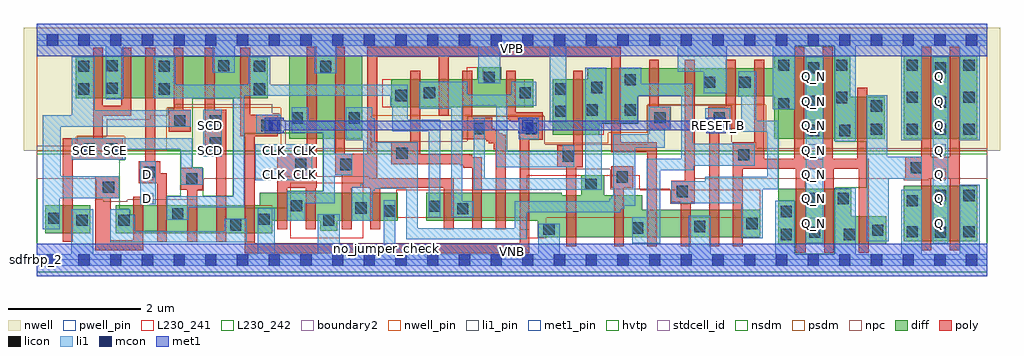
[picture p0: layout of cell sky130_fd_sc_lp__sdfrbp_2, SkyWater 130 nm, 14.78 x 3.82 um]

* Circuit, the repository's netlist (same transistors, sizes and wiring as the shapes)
* Copyright 2020 The SkyWater PDK Authors
*
* Licensed under the Apache License, Version 2.0 (the "License");
* you may not use this file except in compliance with the License.
* You may obtain a copy of the License at
*
*     https://www.apache.org/licenses/LICENSE-2.0
*
* Unless required by applicable law or agreed to in writing, software
* distributed under the License is distributed on an "AS IS" BASIS,
* WITHOUT WARRANTIES OR CONDITIONS OF ANY KIND, either express or implied.
* See the License for the specific language governing permissions and
* limitations under the License.
*
* SPDX-License-Identifier: Apache-2.0

.SUBCKT sky130_fd_sc_lp__sdfrbp_2 CLK D RESET_B SCD SCE VGND VNB VPB VPWR Q Q_N
*.PININFO CLK:I D:I RESET_B:I SCD:I SCE:I VGND:I VNB:I VPB:I VPWR:I
*.PININFO Q:O Q_N:O
MI642 clkneg CLK VGND VNB sky130_fd_pr__nfet_01v8 m=2 w=0.42U l=0.15U mult=1 sa=0.265
+ sb=0.265 sd=0.28 area=0.063 perim=1.14
MI636 clkpos clkneg VGND VNB sky130_fd_pr__nfet_01v8 m=2 w=0.42U l=0.15U mult=1
+ sa=0.265 sb=0.265 sd=0.28 area=0.063 perim=1.14
MI651 Q_N s0 VGND VNB sky130_fd_pr__nfet_01v8 m=2 w=0.84U l=0.15U mult=1 sa=0.265
+ sb=0.265 sd=0.28 area=0.063 perim=1.14
MI42 db clkneg M0 VNB sky130_fd_pr__nfet_01v8 m=1 w=0.42U l=0.15U mult=1 sa=0.265
+ sb=0.265 sd=0.28 area=0.063 perim=1.14
MI656 net100 s0 net134 VNB sky130_fd_pr__nfet_01v8 m=1 w=0.42U l=0.15U mult=1 sa=0.265
+ sb=0.265 sd=0.28 area=0.063 perim=1.14
MI657 net134 RESET_B VGND VNB sky130_fd_pr__nfet_01v8 m=1 w=0.42U l=0.15U mult=1
+ sa=0.265 sb=0.265 sd=0.28 area=0.063 perim=1.14
MI33 net127 RESET_B VGND VNB sky130_fd_pr__nfet_01v8 m=1 w=0.42U l=0.15U mult=1
+ sa=0.265 sb=0.265 sd=0.28 area=0.063 perim=1.14
MI634 sceb SCE VGND VNB sky130_fd_pr__nfet_01v8 m=1 w=0.42U l=0.15U mult=1 sa=0.265
+ sb=0.265 sd=0.28 area=0.063 perim=1.14
MI4 M0 clkpos net115 VNB sky130_fd_pr__nfet_01v8 m=1 w=0.42U l=0.15U mult=1 sa=0.265
+ sb=0.265 sd=0.28 area=0.063 perim=1.14
MI34 net115 M1 net127 VNB sky130_fd_pr__nfet_01v8 m=1 w=0.42U l=0.15U mult=1 sa=0.265
+ sb=0.265 sd=0.28 area=0.063 perim=1.14
MI655 s0 clkneg net110 VNB sky130_fd_pr__nfet_01v8 m=1 w=0.42U l=0.15U mult=1 sa=0.265
+ sb=0.265 sd=0.28 area=0.063 perim=1.14
MI652 net187 s0 VGND VNB sky130_fd_pr__nfet_01v8 m=1 w=0.42U l=0.15U mult=1 sa=0.265
+ sb=0.265 sd=0.28 area=0.063 perim=1.14
MI653 Q net187 VGND VNB sky130_fd_pr__nfet_01v8 m=2 w=0.84U l=0.15U mult=1 sa=0.265
+ sb=0.265 sd=0.28 area=0.063 perim=1.14
MI654 net110 net100 VGND VNB sky130_fd_pr__nfet_01v8 m=1 w=0.42U l=0.15U mult=1
+ sa=0.265 sb=0.265 sd=0.28 area=0.063 perim=1.14
MI647 M1 M0 VGND VNB sky130_fd_pr__nfet_01v8 m=1 w=0.64U l=0.15U mult=1 sa=0.265
+ sb=0.265 sd=0.28 area=0.063 perim=1.14
MI649 M1 clkpos s0 VNB sky130_fd_pr__nfet_01v8 m=1 w=0.64U l=0.15U mult=1 sa=0.265
+ sb=0.265 sd=0.28 area=0.063 perim=1.14
MI666 net146 RESET_B VGND VNB sky130_fd_pr__nfet_01v8 m=1 w=0.42U l=0.15U mult=1
+ sa=0.265 sb=0.265 sd=0.28 area=0.525 perim=3.1
MI98 db D n0 VNB sky130_fd_pr__nfet_01v8 m=1 w=0.42U l=0.15U mult=1 sa=0.265 sb=0.265
+ sd=0.28 area=0.525 perim=3.1
MI103 n1 SCD net146 VNB sky130_fd_pr__nfet_01v8 m=1 w=0.42U l=0.15U mult=1 sa=0.265
+ sb=0.265 sd=0.28 area=0.525 perim=3.1
MI120 db SCE n1 VNB sky130_fd_pr__nfet_01v8 m=1 w=0.42U l=0.15U mult=1 sa=0.265
+ sb=0.265 sd=0.28 area=0.525 perim=3.1
MI104 n0 sceb net146 VNB sky130_fd_pr__nfet_01v8 m=1 w=0.42U l=0.15U mult=1 sa=0.265
+ sb=0.265 sd=0.28 area=0.525 perim=3.1
MI643 clkneg CLK VPWR VPB sky130_fd_pr__pfet_01v8_hvt m=1 w=1.26U l=0.15U mult=1
+ sa=0.265 sb=0.265 sd=0.28 area=0.063 perim=1.14
MI635 clkpos clkneg VPWR VPB sky130_fd_pr__pfet_01v8_hvt m=1 w=1.26U l=0.15U mult=1
+ sa=0.265 sb=0.265 sd=0.28 area=0.063 perim=1.14
MI43 db clkpos M0 VPB sky130_fd_pr__pfet_01v8_hvt m=1 w=0.42U l=0.15U mult=1 sa=0.265
+ sb=0.265 sd=0.28 area=0.063 perim=1.14
MI662 net215 net100 VPWR VPB sky130_fd_pr__pfet_01v8_hvt m=1 w=0.42U l=0.15U mult=1
+ sa=0.265 sb=0.265 sd=0.28 area=0.063 perim=1.14
MI659 net100 RESET_B VPWR VPB sky130_fd_pr__pfet_01v8_hvt m=1 w=0.42U l=0.15U mult=1
+ sa=0.265 sb=0.265 sd=0.28 area=0.063 perim=1.14
MI664 s0 clkpos net215 VPB sky130_fd_pr__pfet_01v8_hvt m=1 w=0.42U l=0.15U mult=1
+ sa=0.265 sb=0.265 sd=0.28 area=0.063 perim=1.14
MI658 net100 s0 VPWR VPB sky130_fd_pr__pfet_01v8_hvt m=1 w=0.42U l=0.15U mult=1
+ sa=0.265 sb=0.265 sd=0.28 area=0.063 perim=1.14
MI30 net194 M1 VPWR VPB sky130_fd_pr__pfet_01v8_hvt m=1 w=0.42U l=0.15U mult=1
+ sa=0.265 sb=0.265 sd=0.28 area=0.063 perim=1.14
MI31 M0 clkneg net194 VPB sky130_fd_pr__pfet_01v8_hvt m=1 w=0.42U l=0.15U mult=1
+ sa=0.265 sb=0.265 sd=0.28 area=0.063 perim=1.14
MI32 M0 RESET_B VPWR VPB sky130_fd_pr__pfet_01v8_hvt m=1 w=0.42U l=0.15U mult=1
+ sa=0.265 sb=0.265 sd=0.28 area=0.063 perim=1.14
MI663 net187 s0 VPWR VPB sky130_fd_pr__pfet_01v8_hvt m=1 w=0.64U l=0.15U mult=1
+ sa=0.265 sb=0.265 sd=0.28 area=0.063 perim=1.14
MI660 Q net187 VPWR VPB sky130_fd_pr__pfet_01v8_hvt m=2 w=1.26U l=0.15U mult=1
+ sa=0.265 sb=0.265 sd=0.28 area=0.063 perim=1.14
MI661 Q_N s0 VPWR VPB sky130_fd_pr__pfet_01v8_hvt m=2 w=1.26U l=0.15U mult=1 sa=0.265
+ sb=0.265 sd=0.28 area=0.063 perim=1.14
MI648 M1 M0 VPWR VPB sky130_fd_pr__pfet_01v8_hvt m=1 w=0.84U l=0.15U mult=1 sa=0.265
+ sb=0.265 sd=0.28 area=0.063 perim=1.14
MI650 M1 clkneg s0 VPB sky130_fd_pr__pfet_01v8_hvt m=1 w=0.84U l=0.15U mult=1 sa=0.265
+ sb=0.265 sd=0.28 area=0.063 perim=1.14
MI633 sceb SCE VPWR VPB sky130_fd_pr__pfet_01v8_hvt m=1 w=0.64U l=0.15U mult=1
+ sa=0.265 sb=0.265 sd=0.28 area=0.063 perim=1.14
MI101 db sceb p1 VPB sky130_fd_pr__pfet_01v8_hvt m=1 w=0.64U l=0.15U mult=1 sa=0.265
+ sb=0.265 sd=0.28 area=0.063 perim=1.14
MI107 p0 SCE VPWR VPB sky130_fd_pr__pfet_01v8_hvt m=1 w=0.64U l=0.15U mult=1 sa=0.265
+ sb=0.265 sd=0.28 area=0.063 perim=1.14
MI94 db D p0 VPB sky130_fd_pr__pfet_01v8_hvt m=1 w=0.64U l=0.15U mult=1 sa=0.265
+ sb=0.265 sd=0.28 area=0.063 perim=1.14
MI108 p1 SCD VPWR VPB sky130_fd_pr__pfet_01v8_hvt m=1 w=0.64U l=0.15U mult=1 sa=0.265
+ sb=0.265 sd=0.28 area=0.063 perim=1.14
MI665 db RESET_B VPWR VPB sky130_fd_pr__pfet_01v8_hvt m=1 w=0.64U l=0.15U mult=1
+ sa=0.265 sb=0.265 sd=0.28 area=0.063 perim=1.14
.ENDS sky130_fd_sc_lp__sdfrbp_2

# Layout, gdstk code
import gdstk
lib = gdstk.Library(unit=1e-6, precision=1e-09)
def R(c, l, rs):  # rectangles x0, y0, x1, y1
    for r in rs: c.add(gdstk.rectangle(r[:2], r[2:], *l))
def A(c, l, x, y, w, h, nx, ny, dx, dy):  # array of equal rectangles
    R(c, l, [(x+i*dx, y+j*dy, x+i*dx+w, y+j*dy+h) for i in range(nx) for j in range(ny)])
def P(c, l, *ps):  # polygons
    for p in ps: c.add(gdstk.Polygon(p, *l))
nwell_pin = (64, 16)
nwell = (64, 20)
diff = (65, 20)
poly = (66, 20)
licon = (66, 44)
li1_pin = (67, 16)
li1 = (67, 20)
mcon = (67, 44)
met1_pin = (68, 16)
met1 = (68, 20)
hvtp = (78, 44)
stdcell_id = (81, 4)
nsdm = (93, 44)
psdm = (94, 20)
npc = (95, 20)
pwell_pin = (122, 16)
L230_241 = (230, 241)
L230_242 = (230, 242)
boundary2 = (236, 0)

sky130_fd_sc_lp__sdfrbp_ = lib.new_cell('sky130_fd_sc_lp__sdfrbp_2')
R(sky130_fd_sc_lp__sdfrbp_, nwell_pin, [(0,3.085,14.4,3.33)])
R(sky130_fd_sc_lp__sdfrbp_, nwell, [(-0.19,1.655,14.59,3.52)])
R(sky130_fd_sc_lp__sdfrbp_, diff, [(13.135,0.28,14.245,1.12), (0.135,0.405,0.815,0.825), (3.825,1.835,4.935,3.095), (13.135,1.835,14.245,3.095), (0.59,2.445,3.5,3.085)])
P(sky130_fd_sc_lp__sdfrbp_, diff, [(5.47,1.015),(3.38,1.015),(3.38,0.825),(1.2,0.825),(1.2,0.405),(3.57,0.405),(3.57,0.595),(4.3,0.595),(4.3,0.44),(4.55,0.44),(4.55,0.595),(5.47,0.595)],
  [(7.525,2.735),(7.035,2.735),(7.035,2.915),(6.675,2.915),(6.675,2.735),(5.37,2.735),(5.37,2.315),(7.525,2.315)],
  [(10.96,0.76),(9.17,0.76),(9.17,0.98),(8.595,0.98),(8.595,1.28),(8.25,1.28),(8.25,0.98),(7.95,0.98),(7.95,1.015),(5.9,1.015),(5.9,0.595),(7.59,0.595),(7.59,0.34),(10.96,0.34)],
  [(12.845,2.475),(12.32,2.475),(12.32,3.095),(11.17,3.095),(11.17,2.9),(8.35,2.9),(8.35,2.735),(7.815,2.735),(7.815,1.895),(8.525,1.895),(8.525,2.06),(9.115,2.06),(9.115,2.48),(11.17,2.48),(11.17,1.835),(12.845,1.835)],
  [(12.865,0.66),(12.34,0.66),(12.34,1.08),(11.23,1.08),(11.23,0.24),(12.865,0.24)])
R(sky130_fd_sc_lp__sdfrbp_, poly, [(8.745,0.21,8.895,1.09), (8.705,1.09,9.035,1.42)])
P(sky130_fd_sc_lp__sdfrbp_, poly, [(1.435,3.215),(1.285,3.215),(1.285,2.335),(1.005,2.335),(1.005,3.215),(0.855,3.215),(0.855,1.845),(0.4,1.845),(0.4,0.275),(0.55,0.275),(0.55,1.515),(1.305,1.515),(1.305,1.845),(1.005,1.845),(1.005,2.185),(1.435,2.185)],
  [(1.615,0.955),(1.465,0.955),(1.465,0.295),(1.125,0.295),(1.125,0.935),(1.255,0.935),(1.255,1.265),(0.89,1.265),(0.89,0.145),(1.615,0.145)],
  [(1.975,1.315),(1.875,1.315),(1.875,1.495),(1.795,1.495),(1.795,3.215),(1.645,3.215),(1.645,1.495),(1.545,1.495),(1.545,1.165),(1.825,1.165),(1.825,0.275),(1.975,0.275)],
  [(2.335,2.275),(2.225,2.275),(2.225,3.215),(2.075,3.215),(2.075,2.275),(2.005,2.275),(2.005,1.945),(2.335,1.945)],
  [(2.515,1.395),(2.185,1.395),(2.185,1.065),(2.28,1.065),(2.28,0.275),(2.43,0.275),(2.43,1.065),(2.515,1.065)],
  [(2.875,2.275),(2.695,2.275),(2.695,3.215),(2.545,3.215),(2.545,1.605),(2.725,1.605),(2.725,0.275),(2.875,0.275)],
  [(4.24,3.225),(4.09,3.225),(4.09,1.61),(3.645,1.61),(3.645,0.465),(3.795,0.465),(3.795,1.09),(4.075,1.09),(4.075,0.465),(4.225,0.465),(4.225,1.09),(4.24,1.09)],
  [(6.745,1.555),(6.595,1.555),(6.595,1.59),(6.555,1.59),(6.555,1.6),(5.81,1.6),(5.81,2.865),(5.66,2.865),(5.66,1.78),(5.37,1.78),(5.37,1.45),(6.42,1.45),(6.42,1.435),(6.465,1.435),(6.465,1.395),(6.595,1.395),(6.595,0.465),(6.745,0.465)],
  [(7.105,1.895),(7.055,1.895),(7.055,1.915),(7,1.915),(7,1.96),(6.94,1.96),(6.94,1.99),(6.9,1.99),(6.9,2.155),(6.6,2.155),(6.6,2.865),(6.45,2.865),(6.45,1.825),(6.81,1.825),(6.81,1.8),(6.85,1.8),(6.85,1.765),(6.92,1.765),(6.92,1.68),(6.955,1.68),(6.955,0.465),(7.105,0.465)],
  [(13.98,3.225),(13.83,3.225),(13.83,1.56),(13.55,1.56),(13.55,3.225),(13.4,3.225),(13.4,1.56),(13.155,1.56),(13.155,1.23),(13.4,1.23),(13.4,0.15),(13.55,0.15),(13.55,1.23),(13.83,1.23),(13.83,0.15),(13.98,0.15)],
  [(12.6,1.53),(12.58,1.53),(12.58,2.605),(12.43,2.605),(12.43,1.53),(12.055,1.53),(12.055,3.225),(11.905,3.225),(11.905,1.53),(11.625,1.53),(11.625,3.225),(11.475,3.225),(11.475,1.53),(11.02,1.53),(11.02,3.03),(10.87,3.03),(10.87,1.78),(10.545,1.78),(10.545,0.21),(10.695,0.21),(10.695,1.38),(11.495,1.38),(11.495,0.11),(11.645,0.11),(11.645,1.38),(11.925,1.38),(11.925,0.11),(12.075,0.11),(12.075,1.38),(12.45,1.38),(12.45,0.11),(12.6,0.11)],
  [(7.665,2.24),(7.26,2.24),(7.26,2.865),(7.11,2.865),(7.11,2.145),(7.13,2.145),(7.13,2.13),(7.155,2.13),(7.155,2.11),(7.185,2.11),(7.185,2.09),(7.315,2.09),(7.315,0.255),(3.305,0.255),(3.305,1.87),(3.655,1.87),(3.655,2.2),(3.235,2.2),(3.235,3.215),(3.085,3.215),(3.085,1.87),(3.155,1.87),(3.155,0.105),(7.465,0.105),(7.465,1.82),(7.665,1.82)],
  [(8.275,2.865),(8.125,2.865),(8.125,1.735),(7.885,1.735),(7.885,1.405),(8.025,1.405),(8.025,0.21),(8.175,0.21),(8.175,1.405),(8.275,1.405)],
  [(10.59,3.03),(10.44,3.03),(10.44,2.32),(10.175,2.32),(10.175,1.99),(10.185,1.99),(10.185,0.21),(10.335,0.21),(10.335,1.99),(10.59,1.99)],
  [(9.395,1.78),(8.85,1.78),(8.85,3.225),(5.01,3.225),(5.01,1.61),(4.67,1.61),(4.67,3.225),(4.52,3.225),(4.52,1.28),(4.625,1.28),(4.625,0.465),(4.775,0.465),(4.775,1.09),(5.055,1.09),(5.055,0.465),(5.205,0.465),(5.205,1.09),(6.165,1.09),(6.165,0.465),(6.315,0.465),(6.315,1.24),(5.16,1.24),(5.16,3.075),(6.09,3.075),(6.09,2.185),(6.24,2.185),(6.24,3.075),(8.7,3.075),(8.7,1.63),(9.245,1.63),(9.245,0.21),(9.395,0.21)],
  [(9.605,2.32),(9.425,2.32),(9.425,3.03),(9.275,3.03),(9.275,1.99),(9.605,1.99)],
  [(9.965,3.03),(9.815,3.03),(9.815,1.2),(9.615,1.2),(9.615,0.87),(9.755,0.87),(9.755,0.21),(9.905,0.21),(9.905,0.87),(9.965,0.87)])
A(sky130_fd_sc_lp__sdfrbp_, licon, 13.175, 1.895, 0.17, 0.17, 3, 1, 0.43, 0)
R(sky130_fd_sc_lp__sdfrbp_, licon, [(11.27,0.3,11.44,0.47), (12.225,0.3,12.395,0.47), (11.7,0.335,11.87,0.505), (13.605,0.335,13.775,0.505), (13.175,0.34,13.345,0.51), (14.035,0.34,14.205,0.51), (12.655,0.365,12.825,0.535), (7.675,0.38,7.845,0.55), (9.02,0.4,9.19,0.57), (9.96,0.42,10.13,0.59), (2.93,0.445,3.1,0.615), (10.75,0.465,10.92,0.635), (0.605,0.515,0.775,0.685), (1.24,0.515,1.41,0.685), (4.34,0.52,4.51,0.69), (3.36,0.53,3.53,0.7), (0.175,0.545,0.345,0.715), (2.055,0.615,2.225,0.785), (11.27,0.65,11.44,0.82), (5.26,0.655,5.43,0.825), (6.37,0.69,6.54,0.86), (4.83,0.7,5,0.87), (5.94,0.73,6.11,0.9), (3.85,0.735,4.02,0.905), (13.175,0.81,13.345,0.98), (12.13,0.845,12.3,1.015), (11.7,0.85,11.87,1.02), (13.605,0.89,13.775,1.06), (14.035,0.89,14.205,1.06), (9.695,0.95,9.865,1.12), (1.005,1.015,1.175,1.185), (8.31,1.06,8.48,1.23), (2.265,1.145,2.435,1.315), (8.785,1.17,8.955,1.34), (1.625,1.245,1.795,1.415), (13.235,1.31,13.405,1.48), (3.915,1.36,4.085,1.53), (4.6,1.36,4.77,1.53), (7.965,1.485,8.135,1.655), (10.625,1.51,10.795,1.68), (5.45,1.53,5.62,1.7), (0.715,1.595,0.885,1.765), (1.055,1.595,1.225,1.765), (2.625,1.685,2.795,1.855), (11.68,1.875,11.85,2.045), (12.155,1.875,12.325,2.045), (12.635,1.895,12.805,2.065), (6.62,1.905,6.79,2.075), (7.405,1.905,7.575,2.075), (3.405,1.95,3.575,2.12), (2.085,2.025,2.255,2.195), (2.625,2.025,2.795,2.195), (3.865,2.065,4.035,2.235), (4.725,2.065,4.895,2.235), (9.355,2.07,9.525,2.24), (10.255,2.07,10.425,2.24), (7.855,2.165,8.025,2.335), (8.33,2.185,8.5,2.355), (8.905,2.185,9.075,2.355), (12.635,2.245,12.805,2.415), (11.23,2.28,11.4,2.45), (13.605,2.305,13.775,2.475), (11.68,2.32,11.85,2.49), (12.11,2.375,12.28,2.545), (13.175,2.38,13.345,2.55), (14.035,2.38,14.205,2.55), (5.435,2.405,5.605,2.575), (5.865,2.445,6.035,2.615), (7.315,2.445,7.485,2.615), (0.63,2.505,0.8,2.675), (1.85,2.505,2.02,2.675), (3.29,2.505,3.46,2.675), (7.855,2.505,8.025,2.675), (1.06,2.515,1.23,2.685), (8.4,2.525,8.57,2.695), (10.105,2.605,10.275,2.775), (10.645,2.605,10.815,2.775), (8.905,2.645,9.075,2.815), (6.77,2.68,6.94,2.85), (11.68,2.825,11.85,2.995), (13.605,2.825,13.775,2.995), (4.295,2.845,4.465,3.015), (0.63,2.85,0.8,3.02), (1.85,2.85,2.02,3.02), (3.29,2.85,3.46,3.02), (1.06,2.855,1.23,3.025), (2.75,2.855,2.92,3.025), (11.23,2.865,11.4,3.035), (12.11,2.865,12.28,3.035), (13.175,2.865,13.345,3.035), (14.035,2.865,14.205,3.035)])
A(sky130_fd_sc_lp__sdfrbp_, li1_pin, 11.675, 0.47, 0.17, 0.17, 1, 7, 0, 0.37)
A(sky130_fd_sc_lp__sdfrbp_, li1_pin, 13.595, 0.47, 0.17, 0.17, 1, 7, 0, 0.37)
R(sky130_fd_sc_lp__sdfrbp_, li1_pin, [(1.595,0.84,1.765,1.01), (1.595,1.21,1.765,1.38), (3.515,1.21,3.685,1.38), (3.995,1.21,4.165,1.38), (0.635,1.58,0.805,1.75), (1.115,1.58,1.285,1.75), (2.555,1.58,2.725,1.75), (3.515,1.58,3.685,1.75), (3.995,1.58,4.165,1.75), (2.555,1.95,2.725,2.12)])
R(sky130_fd_sc_lp__sdfrbp_, li1, [(11.65,0.255,11.915,3.075), (13.575,0.255,13.81,3.075), (1.57,0.84,1.805,1.495), (3.315,1.21,4.175,1.75), (2.525,1.565,2.805,2.275), (7.3,1.825,7.605,2.155), (3.325,1.92,3.695,2.2), (10.125,1.94,10.505,2.3)])
P(sky130_fd_sc_lp__sdfrbp_, li1, [(2.335,2.265),(0.88,2.265),(0.88,3.075),(0.53,3.075),(0.53,2.195),(0.095,2.195),(0.095,0.465),(0.355,0.465),(0.355,0.935),(1.255,0.935),(1.255,1.265),(0.365,1.265),(0.365,2.015),(2.335,2.015)],
  [(2.515,1.395),(2.355,1.395),(2.355,1.845),(0.535,1.845),(0.535,1.515),(1.345,1.515),(1.345,1.675),(2.185,1.675),(2.185,1.135),(2.515,1.135)],
  [(3.18,0.625),(2.85,0.625),(2.85,0.435),(1.49,0.435),(1.49,0.685),(1.415,0.685),(1.415,0.765),(1.115,0.765),(1.115,0.265),(3.18,0.265)],
  [(4.78,1.61),(4.515,1.61),(4.515,2.1),(4.115,2.1),(4.115,2.315),(3.865,2.315),(3.865,1.93),(4.345,1.93),(4.345,1.04),(3.8,1.04),(3.8,0.595),(4.06,0.595),(4.06,0.86),(4.515,0.86),(4.515,1.28),(4.78,1.28)],
  [(6.11,2.12),(5.625,2.12),(5.625,2.655),(3.54,2.655),(3.54,3.075),(3.21,3.075),(3.21,2.655),(2.1,2.655),(2.1,3.075),(1.77,3.075),(1.77,2.445),(2.975,2.445),(2.975,0.965),(1.975,0.965),(1.975,0.605),(2.305,0.605),(2.305,0.795),(3.145,0.795),(3.145,2.485),(5.355,2.485),(5.355,2.325),(5.39,2.325),(5.39,1.95),(5.94,1.95),(5.94,0.65),(6.11,0.65)],
  [(8.14,1.735),(7.965,1.735),(7.965,1.645),(7.13,1.645),(7.13,2.335),(7.565,2.335),(7.565,2.695),(7.19,2.695),(7.19,2.505),(6.52,2.505),(6.52,2.695),(5.795,2.695),(5.795,2.29),(6.28,2.29),(6.28,0.65),(6.62,0.65),(6.62,0.89),(6.45,0.89),(6.45,2.335),(6.96,2.335),(6.96,1.405),(8.14,1.405)],
  [(8.63,2.91),(8.31,2.91),(8.31,1.235),(6.79,1.235),(6.79,2.155),(6.62,2.155),(6.62,1.06),(8.56,1.06),(8.56,2.08),(8.63,2.08)],
  [(9.595,2.32),(9.275,2.32),(9.275,1.9),(8.73,1.9),(8.73,0.965),(8.705,0.965),(8.705,0.93),(8.67,0.93),(8.67,0.89),(7.245,0.89),(7.245,0.48),(5.77,0.48),(5.77,1.78),(5.12,1.78),(5.12,2.145),(5.085,2.145),(5.085,2.315),(4.685,2.315),(4.685,1.815),(4.95,1.815),(4.95,1.155),(4.905,1.155),(4.905,1.11),(4.77,1.11),(4.77,0.595),(5.09,0.595),(5.09,1.05),(5.12,1.05),(5.12,1.075),(5.6,1.075),(5.6,0.31),(7.425,0.31),(7.425,0.72),(8.85,0.72),(8.85,0.775),(8.9,0.775),(8.9,0.82),(9.07,0.82),(9.07,1.7),(9.515,1.7),(9.515,1.99),(9.595,1.99)],
  [(10.875,1.76),(9.935,1.76),(9.935,2.67),(9.155,2.67),(9.155,2.91),(8.825,2.91),(8.825,2.08),(9.105,2.08),(9.105,2.49),(9.765,2.49),(9.765,1.53),(9.24,1.53),(9.24,0.65),(9.02,0.65),(9.02,0.255),(9.445,0.255),(9.445,1.36),(9.955,1.36),(9.955,1.43),(10.875,1.43)],
  [(11.235,2.11),(10.895,2.11),(10.895,2.855),(10.625,2.855),(10.625,2.47),(10.675,2.47),(10.675,1.94),(11.065,1.94),(11.065,1.26),(10.125,1.26),(10.125,1.19),(9.615,1.19),(9.615,0.86),(10.67,0.86),(10.67,0.33),(11,0.33),(11,1.07),(11.235,1.07)],
  [(13.405,1.56),(12.885,1.56),(12.885,2.495),(12.575,2.495),(12.575,0.285),(12.905,0.285),(12.905,1.23),(13.405,1.23)],
  [(14.4,3.415),(0,3.415),(0,3.245),(1.05,3.245),(1.05,2.435),(1.31,2.435),(1.31,3.245),(2.67,3.245),(2.67,2.835),(3,2.835),(3,3.245),(4.215,3.245),(4.215,2.825),(4.545,2.825),(4.545,3.245),(6.69,3.245),(6.69,2.675),(7.02,2.675),(7.02,3.245),(7.775,3.245),(7.775,2.085),(8.025,2.085),(8.025,3.245),(9.71,3.245),(9.71,2.85),(10.105,2.85),(10.105,2.525),(10.455,2.525),(10.455,3.245),(11.15,3.245),(11.15,2.28),(11.48,2.28),(11.48,3.245),(12.085,3.245),(12.085,1.795),(12.405,1.795),(12.405,3.245),(13.095,3.245),(13.095,1.815),(13.405,1.815),(13.405,3.245),(13.98,3.245),(13.98,1.815),(14.285,1.815),(14.285,3.245),(14.4,3.245)],
  [(14.4,0.085),(14.285,0.085),(14.285,1.14),(13.98,1.14),(13.98,0.085),(13.405,0.085),(13.405,1.06),(13.095,1.06),(13.095,0.085),(12.405,0.085),(12.405,1.095),(12.085,1.095),(12.085,0.085),(11.48,0.085),(11.48,0.9),(11.19,0.9),(11.19,0.085),(10.21,0.085),(10.21,0.67),(9.88,0.67),(9.88,0.085),(7.925,0.085),(7.925,0.55),(7.595,0.55),(7.595,0.085),(5.43,0.085),(5.43,0.905),(5.26,0.905),(5.26,0.085),(4.59,0.085),(4.59,0.69),(4.26,0.69),(4.26,0.085),(3.61,0.085),(3.61,0.78),(3.35,0.78),(3.35,0.085),(0.855,0.085),(0.855,0.765),(0.525,0.765),(0.525,0.085),(0,0.085),(0,-0.085),(14.4,-0.085)])
A(sky130_fd_sc_lp__sdfrbp_, mcon, 0.155, -0.085, 0.17, 0.17, 30, 2, 0.48, 3.33)
R(sky130_fd_sc_lp__sdfrbp_, mcon, [(3.515,1.95,3.685,2.12), (7.355,1.95,7.525,2.12), (10.205,1.95,10.375,2.12)])
R(sky130_fd_sc_lp__sdfrbp_, met1_pin, [(0,0,14.4,0.245), (10.235,1.95,10.405,2.12), (0,3.085,14.4,3.33)])
R(sky130_fd_sc_lp__sdfrbp_, met1, [(0,-0.245,14.4,0.245), (0,3.085,14.4,3.575)])
P(sky130_fd_sc_lp__sdfrbp_, met1, [(10.435,2.15),(10.145,2.15),(10.145,2.105),(7.585,2.105),(7.585,2.15),(7.295,2.15),(7.295,2.105),(3.745,2.105),(3.745,2.15),(3.455,2.15),(3.455,1.92),(3.745,1.92),(3.745,1.965),(7.295,1.965),(7.295,1.92),(7.585,1.92),(7.585,1.965),(10.145,1.965),(10.145,1.92),(10.435,1.92)])
R(sky130_fd_sc_lp__sdfrbp_, hvtp, [(0,1.6,14.4,3.33)])
R(sky130_fd_sc_lp__sdfrbp_, stdcell_id, [(0,0,14.4,3.33)])
R(sky130_fd_sc_lp__sdfrbp_, nsdm, [(0,-0.19,14.4,1.655)])
P(sky130_fd_sc_lp__sdfrbp_, psdm, [(14.4,3.52),(0,3.52),(0,1.655),(0.605,1.655),(0.605,1.875),(1.335,1.875),(1.335,1.655),(1.975,1.655),(1.975,2.305),(3.695,2.305),(3.695,1.655),(5.065,1.655),(5.065,2.185),(7.685,2.185),(7.685,1.765),(8.655,1.765),(8.655,1.93),(9.245,1.93),(9.245,2.35),(11.04,2.35),(11.04,1.655),(14.4,1.655)])
R(sky130_fd_sc_lp__sdfrbp_, npc, [(10.465,1.535,10.895,1.78)])
P(sky130_fd_sc_lp__sdfrbp_, npc, [(14.4,1.695),(10.525,1.695),(10.525,2.34),(9.255,2.34),(9.255,1.755),(7.695,1.755),(7.695,2.175),(6.52,2.175),(6.52,1.8),(5.075,1.8),(5.075,1.695),(3.775,1.695),(3.775,2.115),(3.675,2.115),(3.675,2.22),(3.57,2.22),(3.57,2.355),(2.09,2.355),(2.09,2.295),(1.985,2.295),(1.985,2.19),(1.72,2.19),(1.72,2.13),(1.06,2.13),(1.06,1.865),(0.615,1.865),(0.615,1.73),(0,1.73),(0,1.23),(0.905,1.23),(0.905,0.915),(1.01,0.915),(1.01,0.88),(1.375,0.88),(1.375,0.915),(2.43,0.915),(2.43,1.045),(2.535,1.045),(2.535,1.23),(3.75,1.23),(3.75,1.26),(5.04,1.26),(5.04,1.23),(7.335,1.23),(7.335,1.37),(8.685,1.37),(8.685,1.07),(9.595,1.07),(9.595,0.85),(9.965,0.85),(9.965,1.23),(13.135,1.23),(13.135,1.21),(13.505,1.21),(13.505,1.23),(14.4,1.23)])
R(sky130_fd_sc_lp__sdfrbp_, pwell_pin, [(0,0,14.4,0.245)])
R(sky130_fd_sc_lp__sdfrbp_, L230_241, [(11.65,0.255,11.915,3.075), (3.84,0.33,4.95,1.17), (1.2,0.405,3.57,0.825), (1.57,0.84,1.805,1.495), (3.315,1.21,4.175,1.75), (2.525,1.565,2.805,2.275), (3.825,1.835,4.935,3.095), (0.59,2.445,3.5,3.085)])
P(sky130_fd_sc_lp__sdfrbp_, L230_241, [(2.515,1.395),(2.355,1.395),(2.355,1.845),(0.535,1.845),(0.535,1.515),(1.345,1.515),(1.345,1.675),(2.185,1.675),(2.185,1.135),(2.515,1.135)],
  [(7.39,2.735),(6.765,2.735),(6.765,2.92),(6.515,2.92),(6.515,2.735),(5.235,2.735),(5.235,2.315),(7.39,2.315)],
  [(10.96,1.06),(9.135,1.06),(9.135,1.28),(7.425,1.28),(7.425,1.06),(5.45,1.06),(5.45,0.64),(7.425,0.64),(7.425,0.33),(7.715,0.33),(7.715,0.64),(10.96,0.64)],
  [(12.845,2.475),(12.32,2.475),(12.32,3.095),(11.17,3.095),(11.17,2.9),(8.34,2.9),(8.34,2.735),(7.815,2.735),(7.815,1.895),(8.59,1.895),(8.59,2.06),(9.115,2.06),(9.115,2.48),(11.17,2.48),(11.17,1.835),(12.845,1.835)])
P(sky130_fd_sc_lp__sdfrbp_, L230_242, [(2.185,1.675),(1.345,1.675),(1.345,1.515),(1.255,1.515),(1.255,0.765),(1.415,0.765),(1.415,0.685),(1.49,0.685),(1.49,0.435),(1.975,0.435),(1.975,0.965),(2.185,0.965)],
  [(2.975,2.445),(2.355,2.445),(2.355,1.395),(2.515,1.395),(2.515,0.965),(2.975,0.965)],
  [(4.345,1.93),(3.695,1.93),(3.695,1.92),(3.145,1.92),(3.145,0.78),(3.8,0.78),(3.8,1.04),(4.345,1.04)],
  [(7.465,0.465),(7.315,0.465),(7.315,0.255),(3.305,0.255),(3.305,0.275),(3.155,0.275),(3.155,0.105),(7.465,0.105)],
  [(12.575,1.795),(12.085,1.795),(12.085,3.245),(11.48,3.245),(11.48,2.28),(11.235,2.28),(11.235,0.9),(11.48,0.9),(11.48,0.085),(12.085,0.085),(12.085,1.095),(12.575,1.095)])
R(sky130_fd_sc_lp__sdfrbp_, boundary2, [(0,0,14.4,3.33)])
sky130_fd_sc_lp__sdfrbp_.add(gdstk.Label('VNB', (7.2,0.123), layer=64, texttype=59))
sky130_fd_sc_lp__sdfrbp_.add(gdstk.Label('VPB', (7.2,3.208), layer=64, texttype=5))
sky130_fd_sc_lp__sdfrbp_.add(gdstk.Label('no_jumper_check', (6.84,3.15), layer=83, texttype=44))
sky130_fd_sc_lp__sdfrbp_.add(gdstk.Label('sdfrbp_2', (0,0), layer=83, texttype=44))
sky130_fd_sc_lp__sdfrbp_.add(gdstk.Label('no_jumper_check', (5.305,0.18), layer=83, texttype=44))
sky130_fd_sc_lp__sdfrbp_.add(gdstk.Label('RESET_B', (10.32,2.035), layer=68, texttype=5))
sky130_fd_sc_lp__sdfrbp_.add(gdstk.Label('VPWR', (7.2,3.208), layer=68, texttype=5))
sky130_fd_sc_lp__sdfrbp_.add(gdstk.Label('VGND', (7.2,0.123), layer=68, texttype=5))
sky130_fd_sc_lp__sdfrbp_.add(gdstk.Label('Q', (13.68,0.555), layer=67, texttype=5))
sky130_fd_sc_lp__sdfrbp_.add(gdstk.Label('Q', (13.68,0.925), layer=67, texttype=5))
sky130_fd_sc_lp__sdfrbp_.add(gdstk.Label('Q', (13.68,1.295), layer=67, texttype=5))
sky130_fd_sc_lp__sdfrbp_.add(gdstk.Label('Q', (13.68,1.665), layer=67, texttype=5))
sky130_fd_sc_lp__sdfrbp_.add(gdstk.Label('Q', (13.68,2.035), layer=67, texttype=5))
sky130_fd_sc_lp__sdfrbp_.add(gdstk.Label('Q', (13.68,2.405), layer=67, texttype=5))
sky130_fd_sc_lp__sdfrbp_.add(gdstk.Label('Q', (13.68,2.775), layer=67, texttype=5))
sky130_fd_sc_lp__sdfrbp_.add(gdstk.Label('SCE', (0.72,1.665), layer=67, texttype=5))
sky130_fd_sc_lp__sdfrbp_.add(gdstk.Label('SCE', (1.2,1.665), layer=67, texttype=5))
sky130_fd_sc_lp__sdfrbp_.add(gdstk.Label('Q_N', (11.76,0.555), layer=67, texttype=5))
sky130_fd_sc_lp__sdfrbp_.add(gdstk.Label('Q_N', (11.76,0.925), layer=67, texttype=5))
sky130_fd_sc_lp__sdfrbp_.add(gdstk.Label('Q_N', (11.76,1.295), layer=67, texttype=5))
sky130_fd_sc_lp__sdfrbp_.add(gdstk.Label('Q_N', (11.76,1.665), layer=67, texttype=5))
sky130_fd_sc_lp__sdfrbp_.add(gdstk.Label('Q_N', (11.76,2.035), layer=67, texttype=5))
sky130_fd_sc_lp__sdfrbp_.add(gdstk.Label('Q_N', (11.76,2.405), layer=67, texttype=5))
sky130_fd_sc_lp__sdfrbp_.add(gdstk.Label('Q_N', (11.76,2.775), layer=67, texttype=5))
sky130_fd_sc_lp__sdfrbp_.add(gdstk.Label('CLK', (3.6,1.295), layer=67, texttype=5))
sky130_fd_sc_lp__sdfrbp_.add(gdstk.Label('CLK', (3.6,1.665), layer=67, texttype=5))
sky130_fd_sc_lp__sdfrbp_.add(gdstk.Label('CLK', (4.08,1.295), layer=67, texttype=5))
sky130_fd_sc_lp__sdfrbp_.add(gdstk.Label('CLK', (4.08,1.665), layer=67, texttype=5))
sky130_fd_sc_lp__sdfrbp_.add(gdstk.Label('SCD', (2.64,1.665), layer=67, texttype=5))
sky130_fd_sc_lp__sdfrbp_.add(gdstk.Label('SCD', (2.64,2.035), layer=67, texttype=5))
sky130_fd_sc_lp__sdfrbp_.add(gdstk.Label('D', (1.68,0.925), layer=67, texttype=5))
sky130_fd_sc_lp__sdfrbp_.add(gdstk.Label('D', (1.68,1.295), layer=67, texttype=5))

lib.write_gds('sky130_fd_sc_lp__sdfrbp_2.gds')
